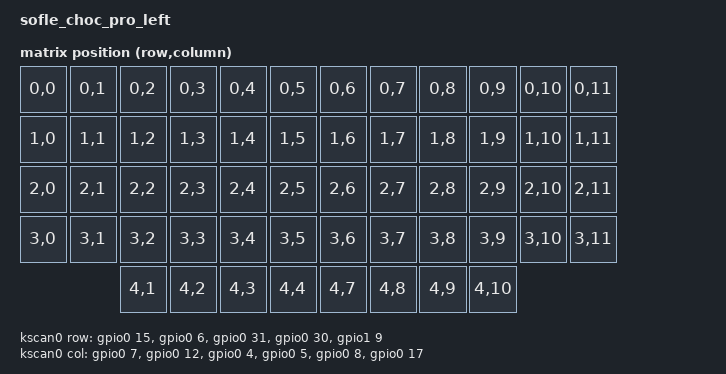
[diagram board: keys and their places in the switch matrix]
/dts-v1/;
/*
 * Copyright (c) 2020 The ZMK Contributors
 *
 * SPDX-License-Identifier: MIT
 */

#include "sofle_choc_pro.dtsi"
#include <dt-bindings/led/led.h>
#include <dt-bindings/zmk/matrix_transform.h>

/ {
    model = "sofle_choc_pro_left";
    compatible = "sofle_choc_pro_left";

    chosen {
        zmk,physical-layout = &physical_layout0;
        zmk,kscan = &kscan0;
        zmk,battery = &fuelgauge;
        zmk,underglow = &led_strip;
    };

    kscan0: kscan {
        compatible = "zmk,kscan-gpio-matrix";
        wakeup-source;
        diode-direction = "col2row";
        row-gpios
            = <&gpio0 15 (GPIO_ACTIVE_HIGH | GPIO_PULL_DOWN)>
            , <&gpio0  6 (GPIO_ACTIVE_HIGH | GPIO_PULL_DOWN)>
            , <&gpio0 31 (GPIO_ACTIVE_HIGH | GPIO_PULL_DOWN)>
            , <&gpio0 30 (GPIO_ACTIVE_HIGH | GPIO_PULL_DOWN)>
            , <&gpio1  9 (GPIO_ACTIVE_HIGH | GPIO_PULL_DOWN)>
            ;
        col-gpios
            = <&gpio0  7 GPIO_ACTIVE_HIGH>
            , <&gpio0 12 GPIO_ACTIVE_HIGH>
            , <&gpio0  4 GPIO_ACTIVE_HIGH>
            , <&gpio0  5 GPIO_ACTIVE_HIGH>
            , <&gpio0  8 GPIO_ACTIVE_HIGH>
            , <&gpio0 17 GPIO_ACTIVE_HIGH>
            ;
    };

    default_transform: keymap_transform_0 {
        compatible = "zmk,matrix-transform";
        columns = <12>;
        rows = <5>;
        map = <
            RC(0,0) RC(0,1) RC(0,2) RC(0,3) RC(0,4) RC(0,5) RC(0,6) RC(0,7) RC(0,8) RC(0,9) RC(0,10) RC(0,11)
            RC(1,0) RC(1,1) RC(1,2) RC(1,3) RC(1,4) RC(1,5) RC(1,6) RC(1,7) RC(1,8) RC(1,9) RC(1,10) RC(1,11)
            RC(2,0) RC(2,1) RC(2,2) RC(2,3) RC(2,4) RC(2,5) RC(2,6) RC(2,7) RC(2,8) RC(2,9) RC(2,10) RC(2,11)
            RC(3,0) RC(3,1) RC(3,2) RC(3,3) RC(3,4) RC(3,5) RC(3,6) RC(3,7) RC(3,8) RC(3,9) RC(3,10) RC(3,11)
                            RC(4,1) RC(4,2) RC(4,3) RC(4,4) RC(4,7) RC(4,8) RC(4,9) RC(4,10)
        >;
    };

    physical_layout0: physical_layout_0 {
        compatible = "zmk,physical-layout";
        display-name = "Default Layout";
        transform = <&default_transform>;
        kscan = <&kscan0>;
    };

    EXT_POWER {
        compatible = "zmk,ext-power-generic";
        control-gpios = <&gpio0 28 GPIO_ACTIVE_HIGH>;
        init-delay-ms = <50>;
    };
};

/* ... Rest der Datei (Encoder, SPI, I2C) wie gehabt ... */
